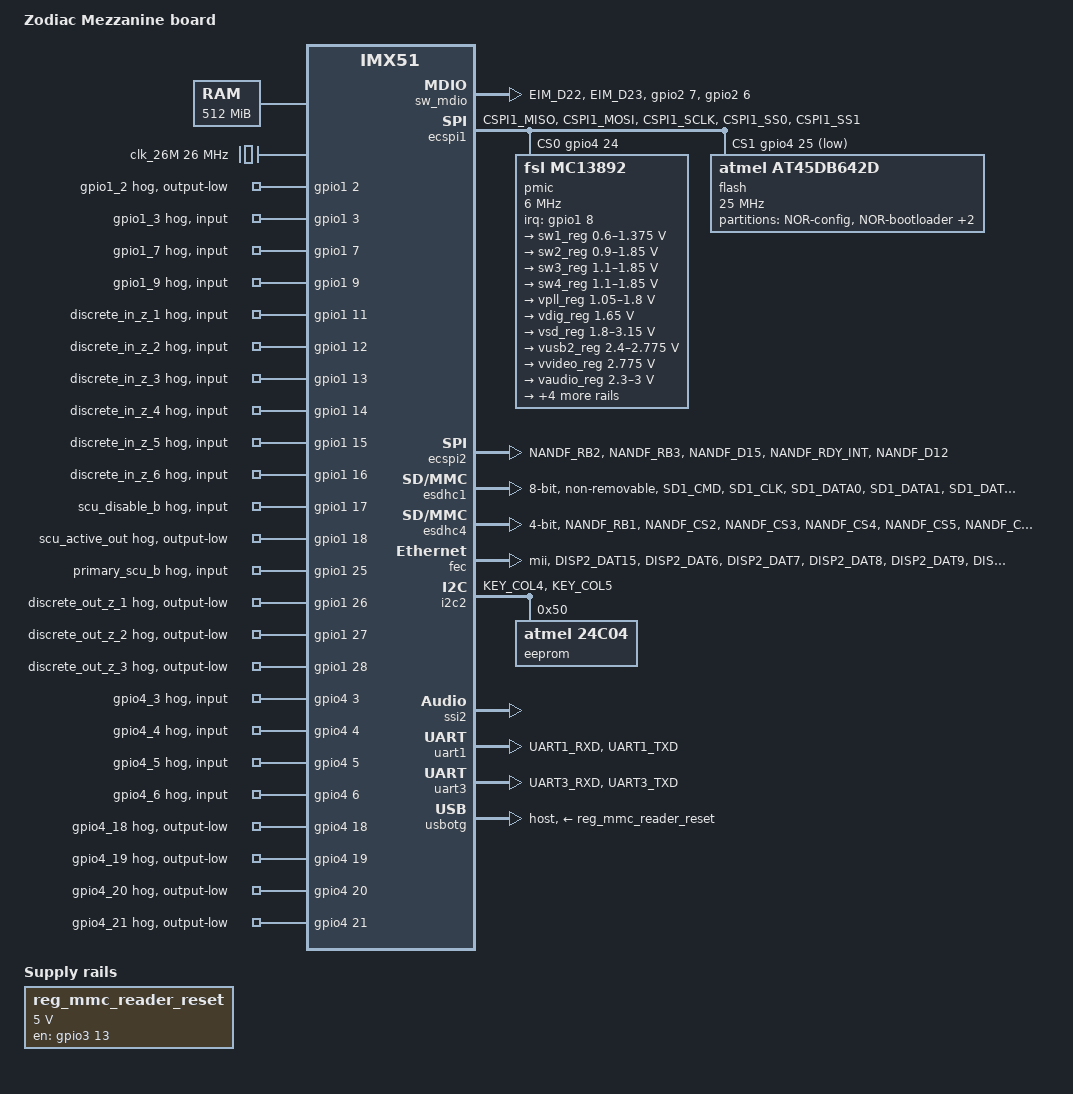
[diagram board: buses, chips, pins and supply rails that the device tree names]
/*
 * Copyright 2011 Freescale Semiconductor, Inc.
 * Copyright 2011 Linaro Ltd.
 *
 * The code contained herein is licensed under the GNU General Public
 * License. You may obtain a copy of the GNU General Public License
 * Version 2 or later at the following locations:
 *
 * http://www.opensource.org/licenses/gpl-license.html
 * http://www.gnu.org/copyleft/gpl.html
 */

/dts-v1/;
#include "imx51.dtsi"

/ {
	model = "Zodiac Mezzanine board";
	compatible = "fsl,imx51-zodiac-mezz", "fsl,imx51";

	chosen {
		stdout-path = &uart1;
	};

	memory {
		reg = <0x90000000 0x20000000>;
	};

	clocks {
		clk_26M: codec_clock {
			compatible = "fixed-clock";
			reg=<0>;
			#clock-cells = <0>;
			clock-frequency = <26000000>;
		};
	};

	regulators {
		compatible = "simple-bus";
		#address-cells = <1>;
		#size-cells = <0>;

		reg_mmc_reader_reset: regulator@0 {
			compatible = "regulator-fixed";
			pinctrl-names = "default";
			pinctrl-0 = <&pinctrl_usbotgreg>;
			reg = <0>;
			regulator-name = "sd_reader_reset";
			regulator-min-microvolt = <5000000>;
			regulator-max-microvolt = <5000000>;
			gpio = <&gpio3 13 GPIO_ACTIVE_HIGH>;
			enable-active-high;
		};
	};

	sw_mdio: swmdio {
		compatible = "virtual,mdio-gpio";
		pinctrl-names = "default";
		pinctrl-0 = <&pinctrl_swmdio>;
		gpios = <&gpio2 7 GPIO_ACTIVE_LOW>,	/* MDC */
			<&gpio2 6 GPIO_ACTIVE_LOW>;	/* MDIO */
		#address-cells = <1>;
		#size-cells = <0>;
		status = "okay";
	};

	dsa@0 {
		compatible = "marvell,dsa";
		#address-cells = <2>;
		#size-cells = <0>;

		dsa,ethernet = <&fec>;
		dsa,mii-bus = <&sw_mdio>;

		switch@0 {
			#address-cells = <1>;
			#size-cells = <0>;
			reg = <0x00 0>;	/* MDIO address 0, switch 0 in tree */
			eeprom-length = <512>;
			reset-gpios = <&gpio4 26 GPIO_ACTIVE_LOW>;

			port@0 {
				reg = <0>;
				label = "port4";
			};

			port@1 {
				reg = <1>;
				label = "port5";
			};

			port@2 {
				reg = <2>;
				label = "port6";
			};

			port@3 {
				reg = <3>;
				label = "port7";
			};

			port@4 {
				reg = <4>;
				label = "cpu";
			};

			port@5 {
				reg = <5>;
				label = "mezz2esb";
				phy-mode = "sgmii";
				fixed-link {
					speed = <1000>;
					full-duplex;
				};
			};
		};
	};
};

&ecspi1 {
	pinctrl-names = "default";
	pinctrl-0 = <&pinctrl_ecspi1>;
	fsl,spi-num-chipselects = <2>;
	cs-gpios = <&gpio4 24 GPIO_ACTIVE_HIGH>,
		   <&gpio4 25 GPIO_ACTIVE_LOW>;
	status = "okay";

	pmic: mc13892@0 {
		compatible = "fsl,mc13892";
		pinctrl-names = "default";
		pinctrl-0 = <&pinctrl_pmic>;
		spi-max-frequency = <6000000>;
		spi-cs-high;
		reg = <0>;
		interrupt-parent = <&gpio1>;
		interrupts = <8 IRQ_TYPE_LEVEL_HIGH>;
		fsl,mc13xxx-uses-rtc;
		fsl,mc13xxx-uses-adc;

		regulators {
			sw1_reg: sw1 {
				regulator-min-microvolt = <600000>;
				regulator-max-microvolt = <1375000>;
				regulator-boot-on;
				regulator-always-on;
			};

			sw2_reg: sw2 {
				regulator-min-microvolt = <900000>;
				regulator-max-microvolt = <1850000>;
				regulator-boot-on;
				regulator-always-on;
			};

			sw3_reg: sw3 {
				regulator-min-microvolt = <1100000>;
				regulator-max-microvolt = <1850000>;
				regulator-boot-on;
				regulator-always-on;
			};

			sw4_reg: sw4 {
				regulator-min-microvolt = <1100000>;
				regulator-max-microvolt = <1850000>;
				regulator-boot-on;
				regulator-always-on;
			};

			vpll_reg: vpll {
				regulator-min-microvolt = <1050000>;
				regulator-max-microvolt = <1800000>;
				regulator-boot-on;
				regulator-always-on;
			};

			vdig_reg: vdig {
				regulator-min-microvolt = <1650000>;
				regulator-max-microvolt = <1650000>;
				regulator-boot-on;
			};

			vsd_reg: vsd {
				regulator-min-microvolt = <1800000>;
				regulator-max-microvolt = <3150000>;
			};

			vusb2_reg: vusb2 {
				regulator-min-microvolt = <2400000>;
				regulator-max-microvolt = <2775000>;
				regulator-boot-on;
				regulator-always-on;
			};

			vvideo_reg: vvideo {
				regulator-min-microvolt = <2775000>;
				regulator-max-microvolt = <2775000>;
			};

			vaudio_reg: vaudio {
				regulator-min-microvolt = <2300000>;
				regulator-max-microvolt = <3000000>;
			};

			vcam_reg: vcam {
				regulator-min-microvolt = <2500000>;
				regulator-max-microvolt = <3000000>;
			};

			vgen1_reg: vgen1 {
				regulator-min-microvolt = <1200000>;
				regulator-max-microvolt = <1200000>;
			};

			vgen2_reg: vgen2 {
				regulator-min-microvolt = <1200000>;
				regulator-max-microvolt = <3150000>;
				regulator-always-on;
			};

			vgen3_reg: vgen3 {
				regulator-min-microvolt = <1800000>;
				regulator-max-microvolt = <2900000>;
				regulator-always-on;
			};
		};

		leds {
			#address-cells = <1>;
			#size-cells = <0>;
			led-control = <0x0 0x0 0x3f83f8 0x0>;

			sysled0 {
				reg = <3>;
				label = "system:red:power";
				linux,default-trigger = "default-on";
			};

			sysled1 {
				reg = <4>;
				label = "system:green:act";
				linux,default-trigger = "heartbeat";
			};
		};
	};

	flash: at45db642d@1 {
		#address-cells = <1>;
		#size-cells = <1>;
		compatible = "atmel,at45db642d", "atmel,at45", "atmel,dataflash";
		spi-max-frequency = <25000000>;
		reg = <1>;

		partition@0 {
			label = "NOR-config";
			reg = <0x0 0x00000400>;
			read-only;
		};

		partition@400 {
			label = "NOR-bootloader";
			reg = <0x00000400 0x000FFC00>;
		};

		partition@100000 {
			label = "NOR-kernel";
			reg = <0x00100000 0x00300000>;
		};

		partition@400000 {
			label = "NOR-rootfs";
			reg = <0x00400000 0x00400000>;
		};
	};
};

&ecspi2 {
	pinctrl-names = "default";
	pinctrl-0 = <&pinctrl_ecspi2>;
	fsl,spi-num-chipselects = <2>;
	cs-gpios = <&gpio3 24 GPIO_ACTIVE_LOW>,
		   <&gpio3 28 GPIO_ACTIVE_LOW>;
	status = "okay";
	/* A429 devices here! */
	/* pinctrl_arinc1 */
	/* pinctrl_arinc2 */
};

/* eMMC */
&esdhc1 {
	pinctrl-names = "default";
	pinctrl-0 = <&pinctrl_esdhc1>;
	bus-width = <8>;
	non-removable;
	status = "okay";
};

/* u-SD */
&esdhc4 {
	pinctrl-names = "default";
	pinctrl-0 = <&pinctrl_esdhc4>;
	bus-width = <4>;
	cd-gpios = <&gpio4 8 GPIO_ACTIVE_LOW>;
	status = "okay";
};

&fec {
	pinctrl-names = "default";
	pinctrl-0 = <&pinctrl_fec>;
	phy-mode = "mii";
	phy-reset-gpios = <&gpio2 14 GPIO_ACTIVE_LOW>;
	status = "okay";
};

&i2c2 {
	pinctrl-names = "default";
	pinctrl-0 = <&pinctrl_i2c2>;
	status = "okay";

	eeprom@50 {
		compatible = "atmel,24c04";
		pagesize = <16>;
		reg = <0x50>;
	};
};

&ssi2 {
	status = "okay";
};

&uart1 {
	pinctrl-names = "default";
	pinctrl-0 = <&pinctrl_uart1>;
	status = "okay";
};

&uart3 {
	pinctrl-names = "default";
	pinctrl-0 = <&pinctrl_uart3>;
	status = "okay";
};

&usbotg {
	dr_mode = "host";
	disable-over-current;
	phy_type = "utmi_wide";
	vbus-supply = <&reg_mmc_reader_reset>;
	status = "okay";
};

&ipu {
	status = "disabled";
};

&iomuxc {
	pinctrl-names = "default";
	pinctrl-0 = <&pinctrl_hog>;

	imx51-zodiac-mezz {
		/* done */
		pinctrl_pmic: pmicgrp {
			fsl,pins = <
				MX51_PAD_GPIO1_4__GPIO1_4		0x85 /* WDOG_B */
				MX51_PAD_GPIO1_8__GPIO1_8		0xe5 /* IRQ */
			>;
		};

		/* done */
		pinctrl_uart1: uart1grp {
			fsl,pins = <
				MX51_PAD_UART1_RXD__UART1_RXD		0x1c5
				MX51_PAD_UART1_TXD__UART1_TXD		0x1c5
			>;
		};

		/* done */
		pinctrl_uart3: uart3grp {
			fsl,pins = <
				MX51_PAD_UART3_RXD__UART3_RXD		0x1c5
				MX51_PAD_UART3_TXD__UART3_TXD		0x1c5
			>;
		};

		/* done */
		pinctrl_ecspi1: ecspi1grp {
			fsl,pins = <
				MX51_PAD_CSPI1_MISO__ECSPI1_MISO	0x185
				MX51_PAD_CSPI1_MOSI__ECSPI1_MOSI	0x185
				MX51_PAD_CSPI1_SCLK__ECSPI1_SCLK	0x185
				MX51_PAD_CSPI1_SS0__GPIO4_24		0x85 /* CS0 */
				MX51_PAD_CSPI1_SS1__GPIO4_25		0x85 /* CS1 */
			>;
		};

		/* done */
		pinctrl_ecspi2: ecspi2grp {
			fsl,pins = <
				MX51_PAD_NANDF_RB2__ECSPI2_SCLK		0x185
				MX51_PAD_NANDF_RB3__ECSPI2_MISO		0x185
				MX51_PAD_NANDF_D15__ECSPI2_MOSI		0x185
				MX51_PAD_NANDF_RDY_INT__GPIO3_24	0x85 /* CS0 */
				MX51_PAD_NANDF_D12__GPIO3_28		0x85 /* CS1 */
			>;
		};

		/* done */
		pinctrl_i2c2: i2c2grp {
			fsl,pins = <
				MX51_PAD_KEY_COL4__I2C2_SCL		0x400001ed
				MX51_PAD_KEY_COL5__I2C2_SDA		0x400001ed
			>;
		};

		/* done */
		pinctrl_esdhc1: esdhc1grp {
			fsl,pins = <
				MX51_PAD_SD1_CMD__SD1_CMD		0x400020d5
				MX51_PAD_SD1_CLK__SD1_CLK		0x20d5
				MX51_PAD_SD1_DATA0__SD1_DATA0		0x20d5
				MX51_PAD_SD1_DATA1__SD1_DATA1		0x20d5
				MX51_PAD_SD1_DATA2__SD1_DATA2		0x20d5
				MX51_PAD_SD1_DATA3__SD1_DATA3		0x20d5
				MX51_PAD_SD2_DATA0__SD1_DAT4		0x20d5
				MX51_PAD_SD2_DATA1__SD1_DAT5		0x20d5
				MX51_PAD_SD2_DATA2__SD1_DAT6		0x20d5
				MX51_PAD_SD2_DATA3__SD1_DAT7		0x20d5
			>;
		};

		/* done */
		pinctrl_esdhc4: esdhc4grp {
			fsl,pins = <
				MX51_PAD_NANDF_RB1__SD4_CMD		0x400020d5
				MX51_PAD_NANDF_CS2__SD4_CLK		0x20d5
				MX51_PAD_NANDF_CS3__SD4_DAT0		0x20d5
				MX51_PAD_NANDF_CS4__SD4_DAT1		0x20d5
				MX51_PAD_NANDF_CS5__SD4_DAT2		0x20d5
				MX51_PAD_NANDF_CS6__SD4_DAT3		0x20d5
				MX51_PAD_NANDF_D0__GPIO4_8		0x100 /* CD */
			>;
		};

		/* done */
		pinctrl_fec: fecgrp {
			fsl,pins = <
				MX51_PAD_DISP2_DAT15__FEC_TDATA0	0x00002004
				MX51_PAD_DISP2_DAT6__FEC_TDATA1		0x00002004
				MX51_PAD_DISP2_DAT7__FEC_TDATA2		0x00002004
				MX51_PAD_DISP2_DAT8__FEC_TDATA3		0x00002004
				MX51_PAD_DISP2_DAT9__FEC_TX_EN		0x00002004
				MX51_PAD_DISP2_DAT10__FEC_COL		0x00000180
				MX51_PAD_DISP2_DAT11__FEC_RX_CLK	0x00000180
				MX51_PAD_DISP2_DAT12__FEC_RX_DV		0x000020a4
				MX51_PAD_DISP2_DAT1__FEC_RX_ER		0x000020a4
				MX51_PAD_DISP2_DAT13__FEC_TX_CLK	0x00002180
				MX51_PAD_DI_GP3__FEC_TX_ER		0x00002004
				MX51_PAD_DISP2_DAT14__FEC_RDATA0	0x00002180
				MX51_PAD_DI2_DISP_CLK__FEC_RDATA1	0x00000085
				MX51_PAD_DI_GP4__FEC_RDATA2		0x00000085
				MX51_PAD_DISP2_DAT0__FEC_RDATA3		0x00000085
				MX51_PAD_DI2_PIN2__FEC_MDC		0x00002004
				MX51_PAD_DI2_PIN3__FEC_MDIO		0x000001f5
				MX51_PAD_DI2_PIN4__FEC_CRS		0x00000180
				/* PHY Reset */
				MX51_PAD_EIM_A20__GPIO2_14		0x00000085
				/* PHY IRQ */
				MX51_PAD_EIM_A21__GPIO2_15		0x000000e5
			>;
		};

		/* done */
		pinctrl_usbotgreg: usbotgreggrp {
			fsl,pins = <
				MX51_PAD_CSI1_D9__GPIO3_13		0x85
			>;
		};

		/* ARINC1 */
		pinctrl_arinc1: arinc1grp {
			fsl,pins = <
				/* A429-1 MB1-1, MB1-2, MB1-3 OR'ed */
				MX51_PAD_EIM_D16__GPIO2_0		0x100
				/* A429-1 MB2-1, MB2-2, MB2-3 OR'ed */
				MX51_PAD_EIM_D17__GPIO2_1		0x100
				/* A429-1_RINT */
				MX51_PAD_NANDF_WE_B__GPIO3_3		0x100
				/* A429-2_RINT */
				MX51_PAD_NANDF_RE_B__GPIO3_4		0x100
				/* A429-1_FLAG */
				MX51_PAD_NANDF_WP_B__GPIO3_7		0x100
				/* A429-2_FLAG */
				MX51_PAD_NANDF_RB0__GPIO3_8		0x100
				/* A429_MR1 */
				MX51_PAD_GPIO_NAND__GPIO_NAND		0x85
				/* A429_TFULL1 */
				MX51_PAD_NANDF_D7__GPIO4_1		0x100
				/* A429_TEMPTY1 */
				MX51_PAD_NANDF_D8__GPIO4_0		0x100
			>;
		};

		/* ARINC2 */
		pinctrl_arinc2: arinc2grp {
			fsl,pins = <
				/* A429-1 MB1-1, MB1-2, MB1-3 OR'ed */
				MX51_PAD_EIM_D18__GPIO2_2		0x100
				/* A429-1 MB2-1, MB2-2, MB2-3 OR'ed */
				MX51_PAD_EIM_D19__GPIO2_3		0x100
				/* A429-3_RINT */
				MX51_PAD_NANDF_ALE__GPIO3_5		0x100
				/* A429-4_RINT */
				MX51_PAD_NANDF_CLE__GPIO3_6		0x100
				/* A429-3_FLAG */
				MX51_PAD_NANDF_CS0__GPIO3_16		0x100
				/* A429-4_FLAG */
				MX51_PAD_NANDF_CS1__GPIO3_17		0x100
				/* A429_MR1 */
				MX51_PAD_NANDF_D13__GPIO3_27		0x85
				/* A429_TFULL2 */
				MX51_PAD_NANDF_D9__GPIO3_31		0x100
				/* A429_TEMPTY2 */
				MX51_PAD_NANDF_D10__GPIO3_30		0x100
			>;
		};

		/* SW MDIO */
		pinctrl_swmdio: swmdiogrp {
			fsl,pins = <
				MX51_PAD_EIM_D22__GPIO2_6		0x100
				MX51_PAD_EIM_D23__GPIO2_7		0x100
			>;
		};

		/* diag LED */
		pinctrl_led: ledgrp {
			fsl,pins = <
				MX51_PAD_EIM_A17__GPIO2_11		0x100
			>;
		};

		/* gpio i2c */
		pinctrl_swi2c: swi2cgrp {
			fsl,pins = <
				MX51_PAD_DI1_PIN12__GPIO3_1		0x100
				MX51_PAD_DI1_PIN13__GPIO3_2		0x100
			>;
		};

		/* gpio, tie to? check */
		pinctrl_hog: hoggrp {
			fsl,pins = <
				/* not used */
				MX51_PAD_EIM_D20__GPIO2_4		0x5
				MX51_PAD_EIM_D21__GPIO2_5		0x5
				MX51_PAD_NANDF_CS7__GPIO3_23		0x5
				MX51_PAD_NANDF_D11__GPIO3_29		0x5
				MX51_PAD_NANDF_D1__GPIO4_7		0x5
				MX51_PAD_NANDF_D6__GPIO4_2		0x5
				MX51_PAD_GPIO1_5__GPIO1_5		0x5
				MX51_PAD_GPIO1_6__GPIO1_6		0x5


				/* System type 0..3 */
				MX51_PAD_NANDF_D2__GPIO4_6		0x5
				MX51_PAD_NANDF_D3__GPIO4_5		0x5
				MX51_PAD_NANDF_D4__GPIO4_4		0x5
				MX51_PAD_NANDF_D5__GPIO4_3		0x5

				/* Switch_Reset_Req - ?? */
				MX51_PAD_CSPI1_RDY__GPIO4_26		0x5

				/* DiscreteOUT 1..7 */
				MX51_PAD_USBH1_DIR__GPIO1_26		0x5
				MX51_PAD_USBH1_STP__GPIO1_27		0x5
				MX51_PAD_USBH1_NXT__GPIO1_28		0x5
				MX51_PAD_AUD3_BB_TXD__GPIO4_18		0x5
				MX51_PAD_AUD3_BB_RXD__GPIO4_19		0x5
				MX51_PAD_AUD3_BB_CK__GPIO4_20		0x5
				MX51_PAD_AUD3_BB_FS__GPIO4_21		0x5

				/* Discrete 1c..6c */
				MX51_PAD_USBH1_DATA0__GPIO1_11		0x5
				MX51_PAD_USBH1_DATA1__GPIO1_12		0x5
				MX51_PAD_USBH1_DATA2__GPIO1_13		0x5
				MX51_PAD_USBH1_DATA3__GPIO1_14		0x5
				MX51_PAD_USBH1_DATA4__GPIO1_15		0x5
				MX51_PAD_USBH1_DATA5__GPIO1_16		0x5

				/* SCU_disable#_c */
				MX51_PAD_USBH1_DATA6__GPIO1_17		0x5
				/* SCU_Active */
				MX51_PAD_USBH1_DATA7__GPIO1_18		0x5

				/* Primary_SCU#_c */
				MX51_PAD_USBH1_CLK__GPIO1_25		0x5

				/* PMIC_IRQ - not used */
				MX51_PAD_PMIC_INT_REQ__PMIC_INT_REQ	0x5

				/* pwm */
				MX51_PAD_GPIO1_2__GPIO1_2		0x5

				/* HOST_INTERRUPT_B */
				MX51_PAD_GPIO1_3__GPIO1_3		0x5

				/* Mezz_SW_INTn */
				MX51_PAD_GPIO1_7__GPIO1_7		0x5

				/* Mezz_Switch_Reset */
				MX51_PAD_GPIO1_9__GPIO1_9		0x5

				/* EIM as testpoint */
				MX51_PAD_EIM_A27__GPIO2_21		0x5
			>;
		};
	};
};

&gpio1 {
	gpio1_2 {
		gpio-hog;
		gpios = <2 GPIO_ACTIVE_HIGH>;
		output-low;
		line-name = "gpio1_2";
	};
	gpio1_3 {
		gpio-hog;
		gpios = <3 GPIO_ACTIVE_HIGH>;
		input;
		line-name = "gpio1_3";
	};
	gpio1_7 {
		gpio-hog;
		gpios = <7 GPIO_ACTIVE_HIGH>;
		input;
		line-name = "gpio1_7";
	};
	gpio1_9 {
		gpio-hog;
		gpios = <9 GPIO_ACTIVE_HIGH>;
		input;
		line-name = "gpio1_9";
	};
	gpio1_11 {
		gpio-hog;
		export;
		gpios = <11 GPIO_ACTIVE_HIGH>;
		input;
		line-name = "discrete_in_z_1";
	};
	gpio1_12 {
		gpio-hog;
		export;
		gpios = <12 GPIO_ACTIVE_HIGH>;
		input;
		line-name = "discrete_in_z_2";
	};
	gpio1_13 {
		gpio-hog;
		export;
		gpios = <13 GPIO_ACTIVE_HIGH>;
		input;
		line-name = "discrete_in_z_3";
	};
	gpio1_14 {
		gpio-hog;
		export;
		gpios = <14 GPIO_ACTIVE_HIGH>;
		input;
		line-name = "discrete_in_z_4";
	};
	gpio1_15 {
		gpio-hog;
		export;
		gpios = <15 GPIO_ACTIVE_HIGH>;
		input;
		line-name = "discrete_in_z_5";
	};
	gpio1_16 {
		gpio-hog;
		export;
		gpios = <16 GPIO_ACTIVE_HIGH>;
		input;
		line-name = "discrete_in_z_6";
	};
	gpio1_17 {
		gpio-hog;
		export;
		gpios = <17 GPIO_ACTIVE_HIGH>;
		input;
		line-name = "scu_disable_b";
	};
	gpio1_18 {
		gpio-hog;
		export;
		gpios = <18 GPIO_ACTIVE_HIGH>;
		output-low;
		line-name = "scu_active_out";
	};
	gpio1_25 {
		gpio-hog;
		export;
		gpios = <25 GPIO_ACTIVE_HIGH>;
		input;
		line-name = "primary_scu_b";
	};
	gpio1_26 {
		gpio-hog;
		export;
		gpios = <26 GPIO_ACTIVE_HIGH>;
		output-low;
		line-name = "discrete_out_z_1";
	};
	gpio1_27 {
		gpio-hog;
		export;
		gpios = <27 GPIO_ACTIVE_HIGH>;
		output-low;
		line-name = "discrete_out_z_2";
	};
	gpio1_28 {
		gpio-hog;
		export;
		gpios = <28 GPIO_ACTIVE_HIGH>;
		output-low;
		line-name = "discrete_out_z_3";
	};
};

&gpio4 {
	gpio4_3 {
		gpio-hog;
		export;
		gpios = <3 GPIO_ACTIVE_HIGH>;
		input;
		line-name = "gpio4_3";
	};
	gpio4_4 {
		gpio-hog;
		export;
		gpios = <4 GPIO_ACTIVE_HIGH>;
		input;
		line-name = "gpio4_4";
	};
	gpio4_5 {
		gpio-hog;
		export;
		gpios = <5 GPIO_ACTIVE_HIGH>;
		input;
		line-name = "gpio4_5";
	};
	gpio4_6 {
		gpio-hog;
		export;
		gpios = <6 GPIO_ACTIVE_HIGH>;
		input;
		line-name = "gpio4_6";
	};
	gpio4_18 {
		gpio-hog;
		export;
		gpios = <18 GPIO_ACTIVE_HIGH>;
		output-low;
		line-name = "gpio4_18";
	};
	gpio4_19 {
		gpio-hog;
		export;
		gpios = <19 GPIO_ACTIVE_HIGH>;
		output-low;
		line-name = "gpio4_19";
	};
	gpio4_20 {
		gpio-hog;
		export;
		gpios = <20 GPIO_ACTIVE_HIGH>;
		output-low;
		line-name = "gpio4_20";
	};
	gpio4_21 {
		gpio-hog;
		export;
		gpios = <21 GPIO_ACTIVE_HIGH>;
		output-low;
		line-name = "gpio4_21";
	};
};
